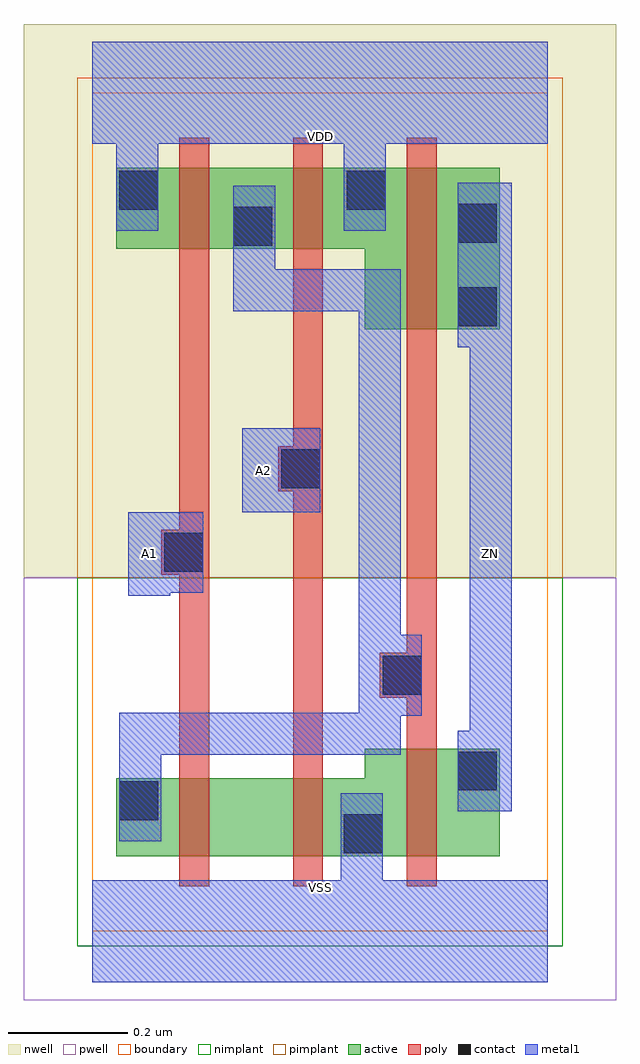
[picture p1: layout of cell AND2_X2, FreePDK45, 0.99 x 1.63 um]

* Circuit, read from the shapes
.subckt AND2_X2 A1 A2 VDD VSS ZN
M1 n1 A1 n2 VSUBS nfet w=0.13u l=0.05u
M2 VSS A2 n1 VSUBS nfet w=0.13u l=0.05u
M3 ZN n2 VSS VSUBS nfet w=0.18u l=0.05u
M4 n2 A1 VDD n3 pfet w=0.135u l=0.05u
M5 VDD A2 n2 n3 pfet w=0.135u l=0.05u
M6 ZN n2 VDD n3 pfet w=0.27u l=0.05u
.ends

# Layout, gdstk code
import gdstk
lib = gdstk.Library(unit=1e-6, precision=1e-10)
def R(c, l, rs):  # rectangles x0, y0, x1, y1
    for r in rs: c.add(gdstk.rectangle(r[:2], r[2:], *l))
def P(c, l, *ps):  # polygons
    for p in ps: c.add(gdstk.Polygon(p, *l))
active = (1, 0)
pwell = (2, 0)
nwell = (3, 0)
nimplant = (4, 0)
pimplant = (5, 0)
poly = (9, 0)
contact = (10, 0)
metal1 = (11, 0)
boundary = (235, 0)

and2_x2 = lib.new_cell('AND2_X2')
P(and2_x2, active, [(0.04,0.125),(0.68,0.125),(0.68,0.305),(0.455,0.305),(0.455,0.255),(0.04,0.255)],
  [(0.04,1.14),(0.455,1.14),(0.455,1.005),(0.68,1.005),(0.68,1.275),(0.04,1.275)])
R(and2_x2, pwell, [(-0.115,-0.115,0.875,0.59)])
R(and2_x2, nwell, [(-0.115,0.59,0.875,1.515)])
R(and2_x2, nimplant, [(-0.025,-0.025,0.785,0.59)])
R(and2_x2, pimplant, [(-0.025,0.59,0.785,1.425)])
P(and2_x2, poly, [(0.115,0.595),(0.145,0.595),(0.145,0.075),(0.195,0.075),(0.195,1.325),(0.145,1.325),(0.145,0.67),(0.115,0.67)],
  [(0.31,0.735),(0.335,0.735),(0.335,0.075),(0.385,0.075),(0.385,1.325),(0.335,1.325),(0.335,0.81),(0.31,0.81)],
  [(0.48,0.39),(0.525,0.39),(0.525,0.075),(0.575,0.075),(0.575,1.325),(0.525,1.325),(0.525,0.465),(0.48,0.465)])
R(and2_x2, contact, [(0.42,0.13,0.485,0.195), (0.045,0.185,0.11,0.25), (0.61,0.235,0.675,0.3), (0.485,0.395,0.55,0.46), (0.12,0.6,0.185,0.665), (0.315,0.74,0.38,0.805), (0.61,1.01,0.675,1.075), (0.235,1.145,0.3,1.21), (0.61,1.15,0.675,1.215), (0.045,1.205,0.11,1.27), (0.425,1.205,0.49,1.27)])
R(and2_x2, metal1, [(0.25,0.7,0.38,0.84)])
P(and2_x2, metal1, [(0.06,0.56),(0.13,0.56),(0.13,0.565),(0.185,0.565),(0.185,0.7),(0.06,0.7)],
  [(0.235,1.035),(0.445,1.035),(0.445,0.365),(0.045,0.365),(0.045,0.15),(0.115,0.15),(0.115,0.295),(0.515,0.295),(0.515,0.36),(0.55,0.36),(0.55,0.495),(0.515,0.495),(0.515,1.105),(0.305,1.105),(0.305,1.245),(0.235,1.245)],
  [(0.61,0.975),(0.63,0.975),(0.63,0.335),(0.61,0.335),(0.61,0.2),(0.7,0.2),(0.7,1.25),(0.61,1.25)],
  [(0,-0.085),(0.76,-0.085),(0.76,0.085),(0.485,0.085),(0.485,0.23),(0.415,0.23),(0.415,0.085),(0,0.085)],
  [(0,1.315),(0.04,1.315),(0.04,1.17),(0.11,1.17),(0.11,1.315),(0.42,1.315),(0.42,1.17),(0.49,1.17),(0.49,1.315),(0.76,1.315),(0.76,1.485),(0,1.485)])
R(and2_x2, boundary, [(0,0,0.76,1.4)])
and2_x2.add(gdstk.Label('A1', (0.095,0.63), layer=11, texttype=0))
and2_x2.add(gdstk.Label('A2', (0.285,0.77), layer=11, texttype=0))
and2_x2.add(gdstk.Label('VDD', (0.38,1.3275), layer=11, texttype=0))
and2_x2.add(gdstk.Label('VSS', (0.38,0.0725), layer=11, texttype=0))
and2_x2.add(gdstk.Label('ZN', (0.665,0.63), layer=11, texttype=0))

lib.write_gds('AND2_X2.gds')
